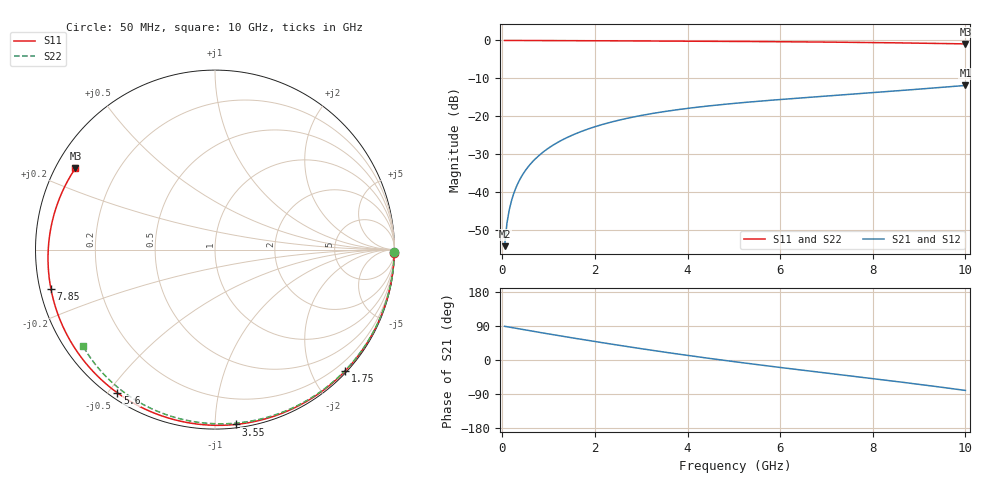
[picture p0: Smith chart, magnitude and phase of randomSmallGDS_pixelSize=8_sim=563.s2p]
! freq	dB(S11)	phase(S11)	dB(S12)	phase(S12)
!  dB(S21)	phase(S21)	dB(S22)	phase(S22)
!S-par simulation data
#  GHz  S  DB  R 50
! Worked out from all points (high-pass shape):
!   200 points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, 50 MHz to 10 GHz, reference 50 ohm
!   highest |S21| = -11.86 dB at 10 GHz (marker M1); lowest = -54.2 dB at 50 MHz (marker M2)
!   |S21| within 3 dB of the highest: 6.767 GHz to end of sweep
!   lowest |S11| = -0.9 dB at 10 GHz (marker M3), VSWR 19.07, Z = 2.81 + j13.5 ohm
!   |S11| at or under -10 dB: nowhere
!   |S22| runs from -0.8 to 0.0 dB; largest |S21 - S12| = 0
!   S11 on the Smith chart (normalised r, x): 50 MHz: 3, -95; 1.75 GHz: 0.03, -2.54; 3.55 GHz: 0.02, -1.12; 5.6 GHz: 0.02, -0.53; 7.85 GHz: 0.03, -0.12; 10 GHz: 0.06, +0.27
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0.05  -0.01 -1.2  -54.17 88.9  -54.17 88.9  -0.01 -0.9
0.1  -0.01 -2.5  -48.15 87.8  -48.15 87.8  -0.01 -1.7
0.15  -0.01 -3.7  -44.64 86.8  -44.64 86.8  -0.01 -2.6
0.2  -0.01 -5.0  -42.14 85.7  -42.14 85.7  -0.01 -3.4
0.35  -0.02 -8.7  -37.30 82.5  -37.30 82.5  -0.01 -5.9
0.5  -0.02 -12.5  -34.22 79.3  -34.22 79.3  -0.01 -8.5
0.7  -0.03 -17.4  -31.35 75.1  -31.35 75.1  -0.02 -11.9
1  -0.04 -24.8  -28.34 68.8  -28.34 68.8  -0.03 -16.9
1.35  -0.05 -33.3  -25.85 61.7  -25.85 61.7  -0.04 -22.7
1.75  -0.07 -42.9  -23.77 53.7  -23.77 53.7  -0.05 -29.3
2.6  -0.11 -62.5  -20.76 37.3  -20.76 37.3  -0.09 -43.0
3.4  -0.16 -80.1  -18.92 22.6  -18.92 22.6  -0.13 -55.5
3.55  -0.17 -83.3  -18.64 20.0  -18.64 20.0  -0.13 -57.8
4.3  -0.21 -98.8  -17.46 7.1  -17.46 7.1  -0.17 -69.0
5.05  -0.26 -113.7  -16.53 -5.1  -16.53 -5.1  -0.22 -79.8
5.6  -0.30 -124.3  -15.95 -13.6  -15.95 -13.6  -0.25 -87.4
6.7  -0.40 -145.0  -14.92 -30.1  -14.92 -30.1  -0.34 -102.3
7.3  -0.47 -156.2  -14.38 -38.9  -14.38 -38.9  -0.39 -110.1
7.85  -0.54 -166.6  -13.89 -46.9  -13.89 -46.9  -0.45 -117.1
8.35  -0.61 -176.2  -13.43 -54.3  -13.43 -54.3  -0.52 -123.4
9.2  -0.75 166.8  -12.63 -67.4  -12.63 -67.4  -0.66 -134.0
10  -0.91 149.7  -11.86 -80.3  -11.86 -80.3  -0.81 -143.9
